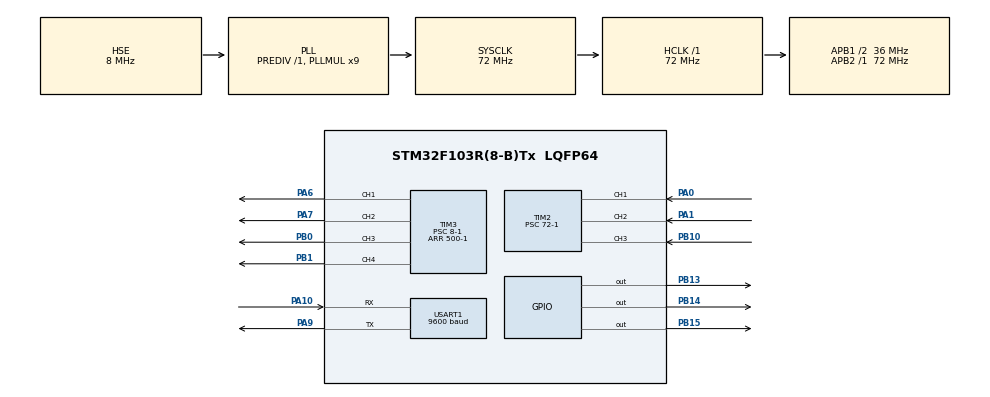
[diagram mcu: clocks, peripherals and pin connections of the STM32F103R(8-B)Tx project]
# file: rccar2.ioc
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Mcu.Family=STM32F1
Mcu.Name=STM32F103R(8-B)Tx
Mcu.Package=LQFP64
NVIC.PriorityGroup=NVIC_PRIORITYGROUP_4
NVIC.TIM2_IRQn=true\:0\:0\:false\:false\:true\:true\:true\:true
NVIC.USART1_IRQn=true\:0\:0\:false\:false\:true\:true\:true\:true
PA0-WKUP.Signal=S_TIM2_CH1_ETR
PA1.Signal=S_TIM2_CH2
PA10.Mode=Asynchronous
PA10.Signal=USART1_RX
PA13.Mode=Serial_Wire
PA13.Signal=SYS_JTMS-SWDIO
PA14.Mode=Serial_Wire
PA14.Signal=SYS_JTCK-SWCLK
PA6.Signal=S_TIM3_CH1
PA7.Signal=S_TIM3_CH2
PA9.Mode=Asynchronous
PA9.Signal=USART1_TX
PB0.Signal=S_TIM3_CH3
PB1.Signal=S_TIM3_CH4
PB10.Signal=S_TIM2_CH3
PB13.Signal=GPIO_Output
PB14.Signal=GPIO_Output
PB15.Signal=GPIO_Output
PD0-OSC_IN.Mode=HSE-External-Clock-Source
PD0-OSC_IN.Signal=RCC_OSC_IN
PD1-OSC_OUT.Mode=HSE-External-Clock-Source
PD1-OSC_OUT.Signal=RCC_OSC_OUT
ProjectManager.HeapSize=0x200
ProjectManager.StackSize=0x400
ProjectManager.TargetToolchain=STM32CubeIDE
RCC.AHBFreq_Value=72000000
RCC.APB1CLKDivider=RCC_HCLK_DIV2
RCC.APB1Freq_Value=36000000
RCC.APB1TimFreq_Value=72000000
RCC.APB2Freq_Value=72000000
RCC.APB2TimFreq_Value=72000000
RCC.HCLKFreq_Value=72000000
RCC.PLLMUL=RCC_PLL_MUL9
RCC.PLLSourceVirtual=RCC_PLLSOURCE_HSE
RCC.SYSCLKFreq_VALUE=72000000
RCC.SYSCLKSource=RCC_SYSCLKSOURCE_PLLCLK
RCC.USBFreq_Value=72000000
SH.S_TIM2_CH1_ETR.0=TIM2_CH1,Input_Capture1_from_TI1
SH.S_TIM2_CH2.0=TIM2_CH2,Input_Capture2_from_TI2
SH.S_TIM2_CH3.0=TIM2_CH3,Input_Capture3_from_TI3
SH.S_TIM3_CH1.0=TIM3_CH1,PWM Generation1 CH1
SH.S_TIM3_CH2.0=TIM3_CH2,PWM Generation2 CH2
SH.S_TIM3_CH3.0=TIM3_CH3,PWM Generation3 CH3
SH.S_TIM3_CH4.0=TIM3_CH4,PWM Generation4 CH4
TIM1.Prescaler=72-1
TIM2.Channel-Input_Capture1_from_TI1=TIM_CHANNEL_1
TIM2.Channel-Input_Capture2_from_TI2=TIM_CHANNEL_2
TIM2.Channel-Input_Capture3_from_TI3=TIM_CHANNEL_3
TIM2.Prescaler=72-1
TIM3.Channel-PWM\ Generation1\ CH1=TIM_CHANNEL_1
TIM3.Channel-PWM\ Generation2\ CH2=TIM_CHANNEL_2
TIM3.Channel-PWM\ Generation3\ CH3=TIM_CHANNEL_3
TIM3.Channel-PWM\ Generation4\ CH4=TIM_CHANNEL_4
TIM3.Period=500-1
TIM3.Prescaler=8-1
TIM3.Pulse-PWM\ Generation1\ CH1=499
TIM3.Pulse-PWM\ Generation2\ CH2=499
TIM3.Pulse-PWM\ Generation3\ CH3=499
TIM3.Pulse-PWM\ Generation4\ CH4=499
USART1.BaudRate=9600
USART1.VirtualMode=VM_ASYNC
VP_TIM1_VS_ClockSourceINT.Mode=Internal
VP_TIM2_VS_ClockSourceINT.Mode=Internal
VP_TIM3_VS_ClockSourceINT.Mode=Internal
board=custom

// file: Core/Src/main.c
/* USER CODE BEGIN Header */
/**
  ******************************************************************************
  * @file           : main.c
  * @brief          : Main program body
  ******************************************************************************
  * @attention
  *
  * Copyright (c) 2026 STMicroelectronics.
  * All rights reserved.
  *
  * This software is licensed under terms that can be found in the LICENSE file
  * in the root directory of this software component.
  * If no LICENSE file comes with this software, it is provided AS-IS.
  *
  ******************************************************************************
  */
/* USER CODE END Header */
#include "main.h"
#include "tim.h"
#include "usart.h"
#include "gpio.h"

/* USER CODE BEGIN Includes */
#include "car.h"
#include "hcsr04_3.h"
/* USER CODE END Includes */

/* USER CODE BEGIN PV */

volatile uint16_t dist_left = 0;
volatile uint16_t dist_front  = 0;
volatile uint16_t dist_right = 0;

/* USER CODE END PV */

void SystemClock_Config(void);
/* USER CODE BEGIN PFP */

void HAL_TIM_IC_CaptureCallback(TIM_HandleTypeDef *htim)
{
  HCSR04_3_TIM_IC_Callback(htim);
}
/* USER CODE END PFP */

/* USER CODE BEGIN 0 */

typedef enum { DIR_F=0, DIR_L, DIR_R }Dir_t;

#define VALID_MIN_CM		3
#define VALID_MAX_CM		300

#define STOP_CM		23		// 전방 이하면 전진 금지
#define SAFE_CM		30		// 전방이 이 이상이면 직진
#define TURN_MS		130		// 좌,우 회전 유지시간(조절)
#define HOLD_MS		90		// 같은 결정을 최소 유지
#define HYST_CM		15		// 이만큼 차이 나야 방향 바꿈

#define FWD_BONUS_CM  15
#define WALL_NEAR_CM   13   // 벽이 이 값보다 가까우면 보정 시작 (15~25 조절)
#define WALL_HYST_CM    5
#define NUDGE_MS  5

static uint32_t holdUntil = 0;
static Dir_t holdDir = DIR_F;

static uint16_t sanitize(uint16_t d){
	if (d < VALID_MIN_CM || d > VALID_MAX_CM) return 0;
	return d;
}

static void AutoDrive_MaxDir(uint16_t dL_raw, uint16_t dF_raw, uint16_t dR_raw)
{
    uint32_t now = HAL_GetTick();

    uint16_t dL = sanitize(dL_raw);
    uint16_t dF = sanitize(dF_raw);
    uint16_t dR = sanitize(dR_raw);

    // 아직 유효시간이면 그대로 유지
    if (now < holdUntil) {
        if (holdDir == DIR_F)      Car_Forward();
        else if (holdDir == DIR_L) Car_Left();
        else                       Car_Right();
        return;
    }

    // 전방 무효(0)면 전진 금지: 좌/우 큰쪽, 둘다 0이면 정지
    if (dF == 0) {
        if (dL == 0 && dR == 0) {
            Car_Stop();
            holdDir = DIR_F;
            holdUntil = now + 80;
            return;
        }
        holdDir = (dR >= dL) ? DIR_R : DIR_L;
        holdUntil = now + TURN_MS;
        if (holdDir == DIR_L) Car_Left();
        else                  Car_Right();
        return;
    }

    // 전방이 너무 가까우면 전진 금지 -> 좌/우 큰쪽으로
    if (dF <= STOP_CM) {
        if (dL == 0 && dR == 0) {
            Car_Stop();
            holdDir = DIR_F;
            holdUntil = now + 80;
            return;
        }
        holdDir = (dR >= dL) ? DIR_R : DIR_L;
        holdUntil = now + TURN_MS;
        if (holdDir == DIR_L) Car_Left();
        else                  Car_Right();
        return;
    }

    // ===== 정상 주행: L/F/R 중 "가장 큰 값" 우선 =====
    Dir_t best = DIR_F;
    uint16_t bestVal = dF;

    // 좌/우는 전방보다 "FWD_BONUS_CM" 이상 더 넓을 때만 꺾기
    if (dL != 0 && dL > (uint16_t)(dF + FWD_BONUS_CM) && dL > bestVal) {
        bestVal = dL; best = DIR_L;
    }
    if (dR != 0 && dR > (uint16_t)(dF + FWD_BONUS_CM) && dR > bestVal) {
        bestVal = dR; best = DIR_R;
    }

    // 히스테리시스: 지금 방향보다 HYST_CM 이상 좋아야 방향 변경
    uint16_t curVal = (holdDir == DIR_F) ? dF : (holdDir == DIR_L) ? dL : dR;
    if (curVal == 0) curVal = 1;

    if (best != holdDir && bestVal < (uint16_t)(curVal + HYST_CM)) {
        best = holdDir;   // 차이 작으면 기존 유지
    }

    holdDir = best;

    // ----- best가 전진이면, 벽 보정(살짝 틀기) -----
    if (holdDir == DIR_F) {

        // (양쪽 다 유효일 때만) 왼쪽 벽 가까우면 오른쪽으로 살짝
        if (dL != 0 && dR != 0 &&
            dL < WALL_NEAR_CM &&
            dR > dL + WALL_HYST_CM)
        {
            holdDir = DIR_R;
            holdUntil = now + NUDGE_MS;
            Car_Right();
            return;
        }

        // (양쪽 다 유효일 때만) 오른쪽 벽 가까우면 왼쪽으로 살짝
        if (dL != 0 && dR != 0 &&
            dR < WALL_NEAR_CM &&
            dL > dR + WALL_HYST_CM)
        {
            holdDir = DIR_L;
            holdUntil = now + NUDGE_MS;
            Car_Left();
            return;
        }

        // 벽 문제 없으면 직진
        holdDir = DIR_F;
        holdUntil = now + HOLD_MS;
        Car_Forward();
        return;
    }

    // ----- 좌/우면 회전 -----
    holdUntil = now + TURN_MS;
    if (holdDir == DIR_L) Car_Left();
    else                  Car_Right();
}
/* USER CODE END 0 */

int main(void)
{

  /* MCU Configuration--------------------------------------------------------*/

  /* Reset of all peripherals, Initializes the Flash interface and the Systick. */
  HAL_Init();

  /* Configure the system clock */
  SystemClock_Config();

  /* Initialize all configured peripherals */
  MX_GPIO_Init();
  MX_TIM3_Init();
  MX_USART1_UART_Init();
  MX_TIM2_Init();
  MX_TIM1_Init();
  /* USER CODE BEGIN 2 */

  	HAL_TIM_PWM_Start(&htim3, TIM_CHANNEL_1);
	HAL_TIM_PWM_Start(&htim3, TIM_CHANNEL_2);
	HAL_TIM_PWM_Start(&htim3, TIM_CHANNEL_3);
	HAL_TIM_PWM_Start(&htim3, TIM_CHANNEL_4);

	Car_Init();
	Car_UartStart();
	HAL_TIM_Base_Start(&htim1);
	HCSR04_3_Init(&htim2);

	Car_SetMode(CAR_MODE_STOP);

  /* USER CODE END 2 */

  /* Infinite loop */
  /* USER CODE BEGIN WHILE */
  while (1)
  {
	  static uint32_t last = 0;
	  static uint8_t step = 0;
	  static uint32_t autoTs = 0;

	  if (HAL_GetTick() - last >= 15)   // 60ms마다 하나씩 발사
	  {
	    last = HAL_GetTick();

	    if (step == 0) HCSR04_3_Trigger(US_LEFT);
	    if (step == 1) HCSR04_3_Trigger(US_FRONT);
	    if (step == 2) HCSR04_3_Trigger(US_RIGHT);

	    step = (step + 1) % 3;
	  }

	  dist_left  = HCSR04_3_GetDistance(US_LEFT);
	  dist_front = HCSR04_3_GetDistance(US_FRONT);
	  dist_right = HCSR04_3_GetDistance(US_RIGHT);

	  if (Car_GetMode() == CAR_MODE_AUTO){
		  if (HAL_GetTick() - autoTs >= 60)
		  {
			  autoTs = HAL_GetTick();
			  AutoDrive_MaxDir(dist_left, dist_front, dist_right);
		  }
	  }

	  else if (Car_GetMode() == CAR_MODE_STOP){
		  Car_Stop();
	  }

    /* USER CODE END WHILE */

  }
}

void SystemClock_Config(void)
{
  RCC_OscInitTypeDef RCC_OscInitStruct = {0};
  RCC_ClkInitTypeDef RCC_ClkInitStruct = {0};

  /** Initializes the RCC Oscillators according to the specified parameters
  * in the RCC_OscInitTypeDef structure.
  */
  RCC_OscInitStruct.OscillatorType = RCC_OSCILLATORTYPE_HSE;
  RCC_OscInitStruct.HSEState = RCC_HSE_BYPASS;
  RCC_OscInitStruct.HSEPredivValue = RCC_HSE_PREDIV_DIV1;
  RCC_OscInitStruct.HSIState = RCC_HSI_ON;
  RCC_OscInitStruct.PLL.PLLState = RCC_PLL_ON;
  RCC_OscInitStruct.PLL.PLLSource = RCC_PLLSOURCE_HSE;
  RCC_OscInitStruct.PLL.PLLMUL = RCC_PLL_MUL9;
  if (HAL_RCC_OscConfig(&RCC_OscInitStruct) != HAL_OK)
  {
    Error_Handler();
  }

  /** Initializes the CPU, AHB and APB buses clocks
  */
  RCC_ClkInitStruct.ClockType = RCC_CLOCKTYPE_HCLK|RCC_CLOCKTYPE_SYSCLK
                              |RCC_CLOCKTYPE_PCLK1|RCC_CLOCKTYPE_PCLK2;
  RCC_ClkInitStruct.SYSCLKSource = RCC_SYSCLKSOURCE_PLLCLK;
  RCC_ClkInitStruct.AHBCLKDivider = RCC_SYSCLK_DIV1;
  RCC_ClkInitStruct.APB1CLKDivider = RCC_HCLK_DIV2;
  RCC_ClkInitStruct.APB2CLKDivider = RCC_HCLK_DIV1;

  if (HAL_RCC_ClockConfig(&RCC_ClkInitStruct, FLASH_LATENCY_2) != HAL_OK)
  {
    Error_Handler();
  }
}

void Error_Handler(void)
{
  __disable_irq();
  while (1)
  {
  }
}
